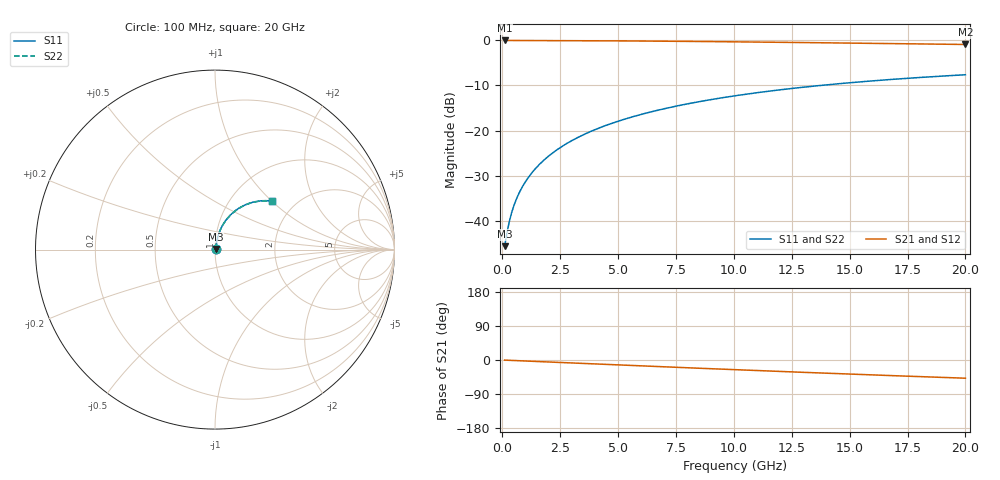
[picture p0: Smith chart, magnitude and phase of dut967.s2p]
! Touchstone file exported from HFSS 2026.1.0
!  File:  C:/ffzhzh/LocalFiles/Ansys_Project_Files/temp_train_BSMRDL_967_1783172552_22436.aedt
!  Generated:  09:43:44 PM Jul  4, 2026
!  Design:  BSMRDL
!  Project:  temp_train_BSMRDL_967_1783172552_22436
! Variables:
!  h_bsmrdl = 2.27um
!  h_ox = 20um
!  h_rdl = 5um
!  h_sub = 80um
!  h_tmrdl = 5um
!  h_tsv = 80um
!  h_via = 3um
!  l_bsmrdl = 708.09um
!  l_sub = 1108.09um
!  l_tmrdl = 200um
!  m_sub = 200um
!  pitch = 54.75um
!  r_tsv = 6um
!  s_tmrdl = 10um
!  w_bsmrdl = 27.42um
!  w_sub = 500um
!  w_tmrdl = 12um
!  x_tsv_center1 = 206um
!  x_tsv_center2 = 941.51um
!  x_tsv_center3 = 1153.51um
!  x_tsv_center4 = 1889.02um
!  x_tsv_center5 = 2101.02um
!  x_tsv_center6 = 2836.53um
# GHz S MA R 50.000000
! Terminal data exported
! Port[1] = BSM_RDL1_1_T1
! Port[2] = BSM_RDL1_1_T2
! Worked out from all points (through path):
!   200 points, 100 MHz to 20 GHz, reference 50 ohm
!   highest |S21| = -0.04 dB at 100 MHz (marker M1); lowest = -0.9 dB at 20 GHz (marker M2)
!   group delay of S21, straight-line fit = 6.69 ps
!   lowest |S11| = -45.6 dB at 100 MHz (marker M3), VSWR 1.01, Z = 50.4 + j0.291 ohm
!   |S11| at or under -10 dB: start of sweep to 13.75 GHz
!   |S22| runs from -45.6 to -7.6 dB; largest |S21 - S12| = 3.5e-15
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0.1  0.005243 33.4  0.9956 -0.3  0.9956 -0.3  0.005243 33.4
! Gamma 0 0 0 0
! Port Impedance 50 0 50 0
0.2  0.007317 51.3  0.9955 -0.6  0.9955 -0.6  0.007317 51.3
0.3  0.009739 60.1  0.9952 -0.8  0.9952 -0.8  0.009739 60.1
0.4  0.01223 65.0  0.995 -1.1  0.995 -1.1  0.01224 65.0
0.5  0.01473 68.2  0.9948 -1.4  0.9948 -1.4  0.01473 68.2
0.6  0.01722 70.4  0.9945 -1.6  0.9945 -1.6  0.01722 70.4
0.8  0.02217 73.3  0.9942 -2.1  0.9942 -2.1  0.02217 73.3
1.1  0.02961 75.8  0.9938 -2.9  0.9938 -2.9  0.02961 75.7
1.3  0.0346 76.7  0.9935 -3.4  0.9935 -3.4  0.0346 76.7
1.6  0.04211 77.6  0.9931 -4.2  0.9931 -4.2  0.04211 77.5
2.1  0.05468 78.0  0.9924 -5.5  0.9924 -5.5  0.05468 78.0
2.7  0.06977 77.8  0.9913 -7.0  0.9913 -7.0  0.06978 77.8
3.5  0.08982 76.8  0.9895 -9.1  0.9895 -9.1  0.08983 76.7
4.2  0.1072 75.6  0.9876 -10.9  0.9876 -10.9  0.1072 75.5
5  0.1269 74.0  0.9851 -13.0  0.9851 -13.0  0.1269 73.9
5.9  0.1487 72.1  0.9818 -15.2  0.9818 -15.2  0.1487 72.0
6.8  0.17 70.0  0.9781 -17.5  0.9781 -17.5  0.17 69.9
8.3  0.2045 66.6  0.971 -21.3  0.971 -21.3  0.2045 66.5
10.1  0.2439 62.4  0.9613 -25.7  0.9613 -25.7  0.2439 62.3
13.4  0.3097 54.9  0.9413 -33.5  0.9413 -33.5  0.3097 54.7
16.7  0.3668 47.6  0.92 -40.9  0.92 -40.9  0.3668 47.4
20  0.415 40.6  0.8989 -48.1  0.8989 -48.1  0.4151 40.3
